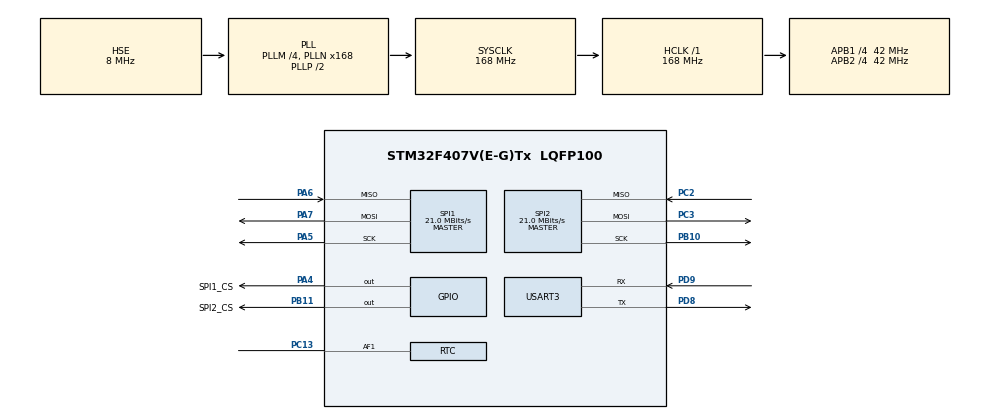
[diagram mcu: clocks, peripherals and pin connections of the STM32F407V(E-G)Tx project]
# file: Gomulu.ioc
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Mcu.Family=STM32F4
Mcu.Name=STM32F407V(E-G)Tx
Mcu.Package=LQFP100
NVIC.PriorityGroup=NVIC_PRIORITYGROUP_4
PA4.GPIO_Label=SPI1_CS
PA4.Signal=GPIO_Output
PA5.Mode=Full_Duplex_Master
PA5.Signal=SPI1_SCK
PA6.Mode=Full_Duplex_Master
PA6.Signal=SPI1_MISO
PA7.Mode=Full_Duplex_Master
PA7.Signal=SPI1_MOSI
PB10.Mode=Full_Duplex_Master
PB10.Signal=SPI2_SCK
PB11.GPIO_Label=SPI2_CS
PB11.Signal=GPIO_Output
PC13-ANTI_TAMP.Mode=Calibration_1Hz
PC13-ANTI_TAMP.Signal=RTC_AF1
PC2.Mode=Full_Duplex_Master
PC2.Signal=SPI2_MISO
PC3.Mode=Full_Duplex_Master
PC3.Signal=SPI2_MOSI
PD8.Mode=Asynchronous
PD8.Signal=USART3_TX
PD9.Mode=Asynchronous
PD9.Signal=USART3_RX
PH0-OSC_IN.Mode=HSE-External-Oscillator
PH0-OSC_IN.Signal=RCC_OSC_IN
PH1-OSC_OUT.Mode=HSE-External-Oscillator
PH1-OSC_OUT.Signal=RCC_OSC_OUT
ProjectManager.HeapSize=0x200
ProjectManager.StackSize=0x400
ProjectManager.TargetToolchain=MDK-ARM V5
RCC.48MHZClocksFreq_Value=84000000
RCC.AHBFreq_Value=168000000
RCC.APB1CLKDivider=RCC_HCLK_DIV4
RCC.APB1Freq_Value=42000000
RCC.APB1TimFreq_Value=84000000
RCC.APB2CLKDivider=RCC_HCLK_DIV4
RCC.APB2Freq_Value=42000000
RCC.APB2TimFreq_Value=84000000
RCC.CortexFreq_Value=168000000
RCC.HCLKFreq_Value=168000000
RCC.HSE_VALUE=8000000
RCC.HSI_VALUE=16000000
RCC.LSE_VALUE=32768
RCC.PLLM=4
RCC.PLLN=168
RCC.PLLSourceVirtual=RCC_PLLSOURCE_HSE
RCC.RCC_RTC_Clock_SourceVirtual=RCC_RTCCLKSOURCE_HSE_DIV16
RCC.RCC_RTC_Clock_Source_FROM_HSE=RCC_RTCCLKSOURCE_HSE_DIV16
RCC.SYSCLKFreq_VALUE=168000000
RCC.SYSCLKSource=RCC_SYSCLKSOURCE_PLLCLK
RCC.VCOOutputFreq_Value=336000000
SPI1.BaudRatePrescaler=SPI_BAUDRATEPRESCALER_2
SPI1.CalculateBaudRate=21.0 MBits/s
SPI1.Direction=SPI_DIRECTION_2LINES
SPI1.Mode=SPI_MODE_MASTER
SPI1.VirtualType=VM_MASTER
SPI2.CalculateBaudRate=21.0 MBits/s
SPI2.Direction=SPI_DIRECTION_2LINES
SPI2.Mode=SPI_MODE_MASTER
SPI2.VirtualType=VM_MASTER
USART3.VirtualMode=VM_ASYNC
VP_RTC_VS_RTC_Activate.Mode=RTC_Enabled
VP_RTC_VS_RTC_Calendar.Mode=RTC_Calendar
board=Gomulu

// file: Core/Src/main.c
/**
  ******************************************************************************
  * @file           : main.c
  * @brief          : Main program body
  ******************************************************************************
  ** This notice applies to any and all portions of this file
  * that are not between comment pairs USER CODE BEGIN and
  * USER CODE END. Other portions of this file, whether
  * inserted by the user or by software development tools
  * are owned by their respective copyright owners.
  *
  * COPYRIGHT(c) 2018 STMicroelectronics
  *
  * Redistribution and use in source and binary forms, with or without modification,
  * are permitted provided that the following conditions are met:
  *   1. Redistributions of source code must retain the above copyright notice,
  *      this list of conditions and the following disclaimer.
  *   2. Redistributions in binary form must reproduce the above copyright notice,
  *      this list of conditions and the following disclaimer in the documentation
  *      and/or other materials provided with the distribution.
  *   3. Neither the name of STMicroelectronics nor the names of its contributors
  *      may be used to endorse or promote products derived from this software
  *      without specific prior written permission.
  *
  * THIS SOFTWARE IS PROVIDED BY THE COPYRIGHT HOLDERS AND CONTRIBUTORS "AS IS"
  * AND ANY EXPRESS OR IMPLIED WARRANTIES, INCLUDING, BUT NOT LIMITED TO, THE
  * IMPLIED WARRANTIES OF MERCHANTABILITY AND FITNESS FOR A PARTICULAR PURPOSE ARE
  * DISCLAIMED. IN NO EVENT SHALL THE COPYRIGHT HOLDER OR CONTRIBUTORS BE LIABLE
  * FOR ANY DIRECT, INDIRECT, INCIDENTAL, SPECIAL, EXEMPLARY, OR CONSEQUENTIAL
  * DAMAGES (INCLUDING, BUT NOT LIMITED TO, PROCUREMENT OF SUBSTITUTE GOODS OR
  * SERVICES; LOSS OF USE, DATA, OR PROFITS; OR BUSINESS INTERRUPTION) HOWEVER
  * CAUSED AND ON ANY THEORY OF LIABILITY, WHETHER IN CONTRACT, STRICT LIABILITY,
  * OR TORT (INCLUDING NEGLIGENCE OR OTHERWISE) ARISING IN ANY WAY OUT OF THE USE
  * OF THIS SOFTWARE, EVEN IF ADVISED OF THE POSSIBILITY OF SUCH DAMAGE.
  *
  ******************************************************************************
  */
#include "main.h"
#include "stm32f4xx_hal.h"
#include "stm32f4xx_hal_usart.h"

/* USER CODE BEGIN Includes */
#include "max7219.h"
#include "max7220.h"
/* USER CODE END Includes */

RTC_HandleTypeDef hrtc;

SPI_HandleTypeDef hspi1;
SPI_HandleTypeDef hspi2;

UART_HandleTypeDef huart3;

/* USER CODE BEGIN PV */
/* Private variables ---------------------------------------------------------*/
uint8_t CodeB[10] = {MAX7219_CodeB_0, MAX7219_CodeB_1, MAX7219_CodeB_2,
             MAX7219_CodeB_3, MAX7219_CodeB_4, MAX7219_CodeB_5, MAX7219_CodeB_6,
             MAX7219_CodeB_7, MAX7219_CodeB_8, MAX7219_CodeB_9};
uint8_t CodeC[10] = {MAX7220_CodeB_0, MAX7220_CodeB_1, MAX7220_CodeB_2,
             MAX7220_CodeB_3, MAX7220_CodeB_4, MAX7220_CodeB_5, MAX7220_CodeB_6,
             MAX7220_CodeB_7, MAX7220_CodeB_8, MAX7220_CodeB_9};
unsigned char seconds = 0 ;
unsigned char minutes = 00;
unsigned char hours = 16 ;
unsigned char day = 30 ;
unsigned char months = 05;
unsigned char years1 = 20 ;
unsigned char years2 = 10 ;

/* USER CODE END PV */

void SystemClock_Config(void);
static void MX_GPIO_Init(void);
static void MX_SPI1_Init(void);
static void MX_RTC_Init(void);
static void MX_SPI2_Init(void);
static void MX_USART3_UART_Init(void);

/* USER CODE BEGIN PFP */
/* Private function prototypes -----------------------------------------------*/

/* USER CODE END PFP */

int main(void)
{

  /* MCU Configuration----------------------------------------------------------*/

  /* Reset of all peripherals, Initializes the Flash interface and the Systick. */
  HAL_Init();

  /* Configure the system clock */
  SystemClock_Config();

  /* Initialize all configured peripherals */
  MX_GPIO_Init();
  MX_SPI1_Init();
  MX_RTC_Init();
  MX_SPI2_Init();
  MX_USART3_UART_Init();
  /* USER CODE BEGIN 2 */
  MAX7219_Init();
	MAX7220_Init();

  /* USER CODE END 2 */

  /* Infinite loop */
  /* USER CODE BEGIN WHILE */
  while (1)
  {
		 if (seconds >= 59)

			{
				minutes++;
				seconds = 0;
			}
		seconds++;
		HAL_Delay(1000);

		if (minutes >=60)
			{
				hours++;
				minutes = 0;
			}

		if (hours >=24)
			{
				day++;
				hours = 0;
			}

		if (day >=32)
			{
				months++;
				day = 1;
			}

		if (months >=13)
			{
				years2++;
				months = 1;
			}

    MAX7219_SendByte(MAX7219_DIG_0, CodeB[(seconds%10)]);
    MAX7219_SendByte(MAX7219_DIG_1, CodeB[(seconds-(seconds%10))/10]);
    MAX7219_SendByte(MAX7219_DIG_2, MAX7220_CodeB_dash);
    MAX7219_SendByte(MAX7219_DIG_3, CodeB[(minutes%10)]);
    MAX7219_SendByte(MAX7219_DIG_4, CodeB[(minutes-(minutes%10))/10]);
		MAX7219_SendByte(MAX7219_DIG_5, MAX7220_CodeB_dash);
		MAX7219_SendByte(MAX7219_DIG_6, CodeB[(hours%10)]);
		MAX7219_SendByte(MAX7219_DIG_7, CodeB[(hours-(hours%10))/10]);

		MAX7220_SendByte(MAX7220_DIG_0, CodeC[(years2%10)]);
    MAX7220_SendByte(MAX7220_DIG_1, CodeC[(years2-(years2%10))/10]);
    MAX7220_SendByte(MAX7220_DIG_2, CodeC[0]);
    MAX7220_SendByte(MAX7220_DIG_3, CodeC[2]);
    MAX7220_SendByte(MAX7220_DIG_4, CodeC[(months%10)]|MAX7220_CodeB_dot);
		MAX7220_SendByte(MAX7220_DIG_5, CodeC[(months-(months%10))/10]);
		MAX7220_SendByte(MAX7220_DIG_6, CodeC[(day%10)] | MAX7220_CodeB_dot );
		MAX7220_SendByte(MAX7220_DIG_7, CodeC[(day-(day%10))/10]);

    }

  /* USER CODE END WHILE */

}

void SystemClock_Config(void)
{

  RCC_OscInitTypeDef RCC_OscInitStruct;
  RCC_ClkInitTypeDef RCC_ClkInitStruct;
  RCC_PeriphCLKInitTypeDef PeriphClkInitStruct;

    /**Configure the main internal regulator output voltage
    */
  __HAL_RCC_PWR_CLK_ENABLE();

  __HAL_PWR_VOLTAGESCALING_CONFIG(PWR_REGULATOR_VOLTAGE_SCALE1);

    /**Initializes the CPU, AHB and APB busses clocks
    */
  RCC_OscInitStruct.OscillatorType = RCC_OSCILLATORTYPE_HSE;
  RCC_OscInitStruct.HSEState = RCC_HSE_ON;
  RCC_OscInitStruct.PLL.PLLState = RCC_PLL_ON;
  RCC_OscInitStruct.PLL.PLLSource = RCC_PLLSOURCE_HSE;
  RCC_OscInitStruct.PLL.PLLM = 4;
  RCC_OscInitStruct.PLL.PLLN = 168;
  RCC_OscInitStruct.PLL.PLLP = RCC_PLLP_DIV2;
  RCC_OscInitStruct.PLL.PLLQ = 4;
  if (HAL_RCC_OscConfig(&RCC_OscInitStruct) != HAL_OK)
  {
    _Error_Handler(__FILE__, __LINE__);
  }

    /**Initializes the CPU, AHB and APB busses clocks
    */
  RCC_ClkInitStruct.ClockType = RCC_CLOCKTYPE_HCLK|RCC_CLOCKTYPE_SYSCLK
                              |RCC_CLOCKTYPE_PCLK1|RCC_CLOCKTYPE_PCLK2;
  RCC_ClkInitStruct.SYSCLKSource = RCC_SYSCLKSOURCE_PLLCLK;
  RCC_ClkInitStruct.AHBCLKDivider = RCC_SYSCLK_DIV1;
  RCC_ClkInitStruct.APB1CLKDivider = RCC_HCLK_DIV4;
  RCC_ClkInitStruct.APB2CLKDivider = RCC_HCLK_DIV4;

  if (HAL_RCC_ClockConfig(&RCC_ClkInitStruct, FLASH_LATENCY_5) != HAL_OK)
  {
    _Error_Handler(__FILE__, __LINE__);
  }

  PeriphClkInitStruct.PeriphClockSelection = RCC_PERIPHCLK_RTC;
  PeriphClkInitStruct.RTCClockSelection = RCC_RTCCLKSOURCE_HSE_DIV16;
  if (HAL_RCCEx_PeriphCLKConfig(&PeriphClkInitStruct) != HAL_OK)
  {
    _Error_Handler(__FILE__, __LINE__);
  }

    /**Configure the Systick interrupt time
    */
  HAL_SYSTICK_Config(HAL_RCC_GetHCLKFreq()/1000);

    /**Configure the Systick
    */
  HAL_SYSTICK_CLKSourceConfig(SYSTICK_CLKSOURCE_HCLK);

  /* SysTick_IRQn interrupt configuration */
  HAL_NVIC_SetPriority(SysTick_IRQn, 0, 0);
}

/* RTC init function */
static void MX_RTC_Init(void)
{

  RTC_TimeTypeDef sTime;
  RTC_DateTypeDef sDate;

    /**Initialize RTC Only
    */
  hrtc.Instance = RTC;
if(HAL_RTCEx_BKUPRead(&hrtc, RTC_BKP_DR0) != 0x32F2){
  hrtc.Init.HourFormat = RTC_HOURFORMAT_24;
  hrtc.Init.AsynchPrediv = 127;
  hrtc.Init.SynchPrediv = 255;
  hrtc.Init.OutPut = RTC_OUTPUT_DISABLE;
  hrtc.Init.OutPutPolarity = RTC_OUTPUT_POLARITY_HIGH;
  hrtc.Init.OutPutType = RTC_OUTPUT_TYPE_OPENDRAIN;
  if (HAL_RTC_Init(&hrtc) != HAL_OK)
  {
    _Error_Handler(__FILE__, __LINE__);
  }

    /**Initialize RTC and set the Time and Date
    */
  sTime.Hours = 0x0;
  sTime.Minutes = 0x0;
  sTime.Seconds = 0x0;
  sTime.DayLightSaving = RTC_DAYLIGHTSAVING_NONE;
  sTime.StoreOperation = RTC_STOREOPERATION_RESET;
  if (HAL_RTC_SetTime(&hrtc, &sTime, RTC_FORMAT_BCD) != HAL_OK)
  {
    _Error_Handler(__FILE__, __LINE__);
  }

  sDate.WeekDay = RTC_WEEKDAY_MONDAY;
  sDate.Month = RTC_MONTH_JANUARY;
  sDate.Date = 0x1;
  sDate.Year = 0x0;

  if (HAL_RTC_SetDate(&hrtc, &sDate, RTC_FORMAT_BCD) != HAL_OK)
  {
    _Error_Handler(__FILE__, __LINE__);
  }

    /**Enable Calibrartion
    */
  if (HAL_RTCEx_SetCalibrationOutPut(&hrtc, RTC_CALIBOUTPUT_1HZ) != HAL_OK)
  {
    _Error_Handler(__FILE__, __LINE__);
  }

    HAL_RTCEx_BKUPWrite(&hrtc,RTC_BKP_DR0,0x32F2);
  }

}

/* SPI1 init function */
static void MX_SPI1_Init(void)
{

  /* SPI1 parameter configuration*/
  hspi1.Instance = SPI1;
  hspi1.Init.Mode = SPI_MODE_MASTER;
  hspi1.Init.Direction = SPI_DIRECTION_2LINES;
  hspi1.Init.DataSize = SPI_DATASIZE_8BIT;
  hspi1.Init.CLKPolarity = SPI_POLARITY_LOW;
  hspi1.Init.CLKPhase = SPI_PHASE_1EDGE;
  hspi1.Init.NSS = SPI_NSS_SOFT;
  hspi1.Init.BaudRatePrescaler = SPI_BAUDRATEPRESCALER_2;
  hspi1.Init.FirstBit = SPI_FIRSTBIT_MSB;
  hspi1.Init.TIMode = SPI_TIMODE_DISABLE;
  hspi1.Init.CRCCalculation = SPI_CRCCALCULATION_DISABLE;
  hspi1.Init.CRCPolynomial = 10;
  if (HAL_SPI_Init(&hspi1) != HAL_OK)
  {
    _Error_Handler(__FILE__, __LINE__);
  }

}

/* SPI2 init function */
static void MX_SPI2_Init(void)
{

  /* SPI2 parameter configuration*/
  hspi2.Instance = SPI2;
  hspi2.Init.Mode = SPI_MODE_MASTER;
  hspi2.Init.Direction = SPI_DIRECTION_2LINES;
  hspi2.Init.DataSize = SPI_DATASIZE_8BIT;
  hspi2.Init.CLKPolarity = SPI_POLARITY_LOW;
  hspi2.Init.CLKPhase = SPI_PHASE_1EDGE;
  hspi2.Init.NSS = SPI_NSS_SOFT;
  hspi2.Init.BaudRatePrescaler = SPI_BAUDRATEPRESCALER_2;
  hspi2.Init.FirstBit = SPI_FIRSTBIT_MSB;
  hspi2.Init.TIMode = SPI_TIMODE_DISABLE;
  hspi2.Init.CRCCalculation = SPI_CRCCALCULATION_DISABLE;
  hspi2.Init.CRCPolynomial = 10;
  if (HAL_SPI_Init(&hspi2) != HAL_OK)
  {
    _Error_Handler(__FILE__, __LINE__);
  }

}

/* USART3 init function */
static void MX_USART3_UART_Init(void)
{

  huart3.Instance = USART3;
  huart3.Init.BaudRate = 115200;
  huart3.Init.WordLength = UART_WORDLENGTH_8B;
  huart3.Init.StopBits = UART_STOPBITS_1;
  huart3.Init.Parity = UART_PARITY_NONE;
  huart3.Init.Mode = UART_MODE_TX_RX;
  huart3.Init.HwFlowCtl = UART_HWCONTROL_NONE;
  huart3.Init.OverSampling = UART_OVERSAMPLING_16;
  if (HAL_UART_Init(&huart3) != HAL_OK)
  {
    _Error_Handler(__FILE__, __LINE__);
  }

}

/** Configure pins as
        * Analog
        * Input
        * Output
        * EVENT_OUT
        * EXTI
*/
static void MX_GPIO_Init(void)
{

  GPIO_InitTypeDef GPIO_InitStruct;

  /* GPIO Ports Clock Enable */
  __HAL_RCC_GPIOC_CLK_ENABLE();
  __HAL_RCC_GPIOH_CLK_ENABLE();
  __HAL_RCC_GPIOA_CLK_ENABLE();
  __HAL_RCC_GPIOB_CLK_ENABLE();
  __HAL_RCC_GPIOD_CLK_ENABLE();

  /*Configure GPIO pin Output Level */
  HAL_GPIO_WritePin(SPI1_CS_GPIO_Port, SPI1_CS_Pin, GPIO_PIN_RESET);

  /*Configure GPIO pin Output Level */
  HAL_GPIO_WritePin(SPI2_CS_GPIO_Port, SPI2_CS_Pin, GPIO_PIN_RESET);

  /*Configure GPIO pin : SPI1_CS_Pin */
  GPIO_InitStruct.Pin = SPI1_CS_Pin;
  GPIO_InitStruct.Mode = GPIO_MODE_OUTPUT_PP;
  GPIO_InitStruct.Pull = GPIO_NOPULL;
  GPIO_InitStruct.Speed = GPIO_SPEED_FREQ_LOW;
  HAL_GPIO_Init(SPI1_CS_GPIO_Port, &GPIO_InitStruct);

  /*Configure GPIO pin : SPI2_CS_Pin */
  GPIO_InitStruct.Pin = SPI2_CS_Pin;
  GPIO_InitStruct.Mode = GPIO_MODE_OUTPUT_PP;
  GPIO_InitStruct.Pull = GPIO_NOPULL;
  GPIO_InitStruct.Speed = GPIO_SPEED_FREQ_LOW;
  HAL_GPIO_Init(SPI2_CS_GPIO_Port, &GPIO_InitStruct);

}

void _Error_Handler(char *file, int line)
{
  while(1)
  {
  }
}

/************************ (C) COPYRIGHT STMicroelectronics *****END OF FILE****/
